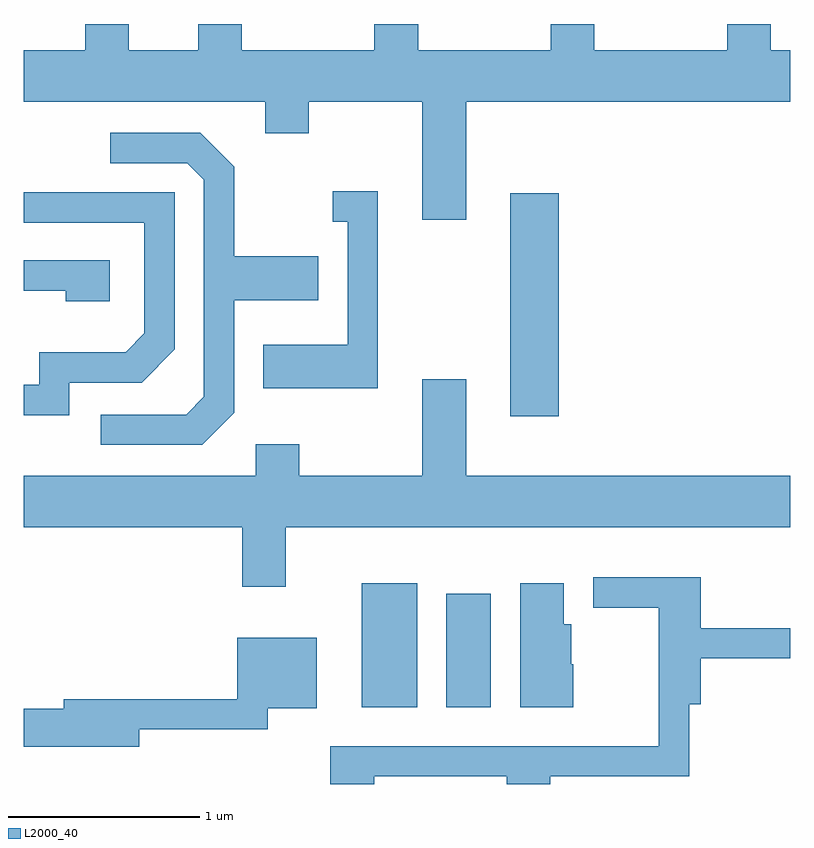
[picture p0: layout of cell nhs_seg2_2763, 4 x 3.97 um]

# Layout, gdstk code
import gdstk
lib = gdstk.Library(unit=1e-6, precision=1e-09)
def R(c, l, rs):  # rectangles x0, y0, x1, y1
    for r in rs: c.add(gdstk.rectangle(r[:2], r[2:], *l))
def P(c, l, *ps):  # polygons
    for p in ps: c.add(gdstk.Polygon(p, *l))
L2000_40 = (2000, 40)

nhs_seg2_2763 = lib.new_cell('nhs_seg2_2763')
R(nhs_seg2_2763, L2000_40, [(267.376,1076.236,267.664,1076.884), (267.816,1076.236,268.049,1076.829), (268.151,1077.756,268.404,1078.919)])
P(nhs_seg2_2763, L2000_40, [(266.871,1079.231),(267.099,1079.231),(267.099,1079.396),(267.691,1079.396),(267.691,1078.781),(267.919,1078.781),(267.919,1079.396),(269.611,1079.396),(269.611,1079.664),(269.509,1079.664),(269.509,1079.802),(269.281,1079.802),(269.281,1079.664),(268.589,1079.664),(268.589,1079.802),(268.361,1079.802),(268.361,1079.664),(267.669,1079.664),(267.669,1079.802),(267.441,1079.802),(267.441,1079.664),(266.749,1079.664),(266.749,1079.802),(266.521,1079.802),(266.521,1079.664),(266.159,1079.664),(266.159,1079.802),(265.931,1079.802),(265.931,1079.664),(265.611,1079.664),(265.611,1079.396),(266.871,1079.396)],
  [(266.709,1077.774),(266.709,1078.361),(267.149,1078.361),(267.149,1078.589),(266.709,1078.589),(266.709,1079.057),(266.532,1079.234),(266.063,1079.234),(266.063,1079.076),(266.464,1079.076),(266.551,1078.989),(266.551,1077.857),(266.459,1077.764),(266.013,1077.764),(266.013,1077.606),(266.542,1077.606)],
  [(267.459,1078.929),(267.223,1078.929),(267.223,1078.771),(267.301,1078.771),(267.301,1078.129),(266.861,1078.129),(266.861,1077.901),(267.459,1077.901)],
  [(265.849,1077.931),(266.227,1077.931),(266.399,1078.104),(266.399,1078.924),(265.611,1078.924),(265.611,1078.766),(266.241,1078.766),(266.241,1078.187),(266.144,1078.089),(265.691,1078.089),(265.691,1077.919),(265.611,1077.919),(265.611,1077.761),(265.849,1077.761)],
  [(266.059,1078.569),(265.611,1078.569),(265.611,1078.411),(265.831,1078.411),(265.831,1078.356),(266.059,1078.356)],
  [(269.611,1077.444),(267.919,1077.444),(267.919,1077.949),(267.691,1077.949),(267.691,1077.444),(267.049,1077.444),(267.049,1077.609),(266.821,1077.609),(266.821,1077.444),(265.611,1077.444),(265.611,1077.176),(266.751,1077.176),(266.751,1076.866),(266.979,1076.866),(266.979,1077.176),(269.611,1077.176)],
  [(267.439,1075.876),(268.131,1075.876),(268.131,1075.836),(268.359,1075.836),(268.359,1075.876),(269.084,1075.876),(269.084,1076.251),(269.144,1076.251),(269.144,1076.491),(269.611,1076.491),(269.611,1076.649),(269.144,1076.649),(269.144,1076.914),(268.583,1076.914),(268.583,1076.756),(268.926,1076.756),(268.926,1076.034),(267.211,1076.034),(267.211,1075.836),(267.439,1075.836)],
  [(268.479,1076.46),(268.469,1076.46),(268.469,1076.669),(268.429,1076.669),(268.429,1076.884),(268.201,1076.884),(268.201,1076.236),(268.479,1076.236)],
  [(266.214,1076.121),(266.884,1076.121),(266.884,1076.231),(267.139,1076.231),(267.139,1076.599),(266.726,1076.599),(266.726,1076.279),(265.821,1076.279),(265.821,1076.229),(265.611,1076.229),(265.611,1076.031),(266.214,1076.031)])

lib.write_gds('nhs_seg2_2763.gds')
